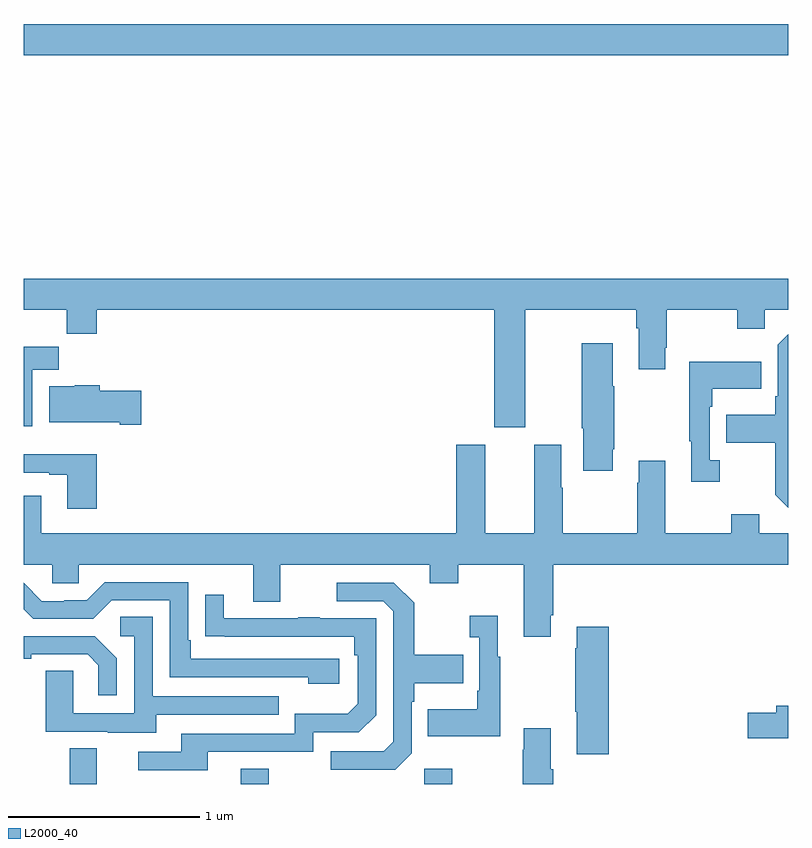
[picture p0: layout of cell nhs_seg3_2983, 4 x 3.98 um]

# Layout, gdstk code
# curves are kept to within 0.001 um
import gdstk
lib = gdstk.Library(unit=1e-6, precision=1e-09)
def R(c, l, rs):  # rectangles x0, y0, x1, y1
    for r in rs: c.add(gdstk.rectangle(r[:2], r[2:], *l))
def P(c, l, *ps):  # polygons
    for p in ps: c.add(gdstk.Polygon(p, *l))
L2000_40 = (2000, 40)

nhs_seg3_2983 = lib.new_cell('nhs_seg3_2983')
R(nhs_seg3_2983, L2000_40, [(265.241,734.4,265.381,734.588), (266.135,734.4,266.283,734.479), (267.096,734.4,267.243,734.479), (265,738.212,269,738.376)])
P(nhs_seg3_2983, L2000_40, [(267.625,736.88),(268.205,736.88),(268.205,736.784),(268.217,736.784),(268.217,736.569),(268.357,736.569),(268.357,736.681),(268.365,736.681),(268.365,736.88),(268.732,736.88),(268.732,736.781),(268.878,736.781),(268.878,736.88),(269,736.88),(269,737.044),(265,737.044),(265,736.88),(265.225,736.88),(265.225,736.756),(265.382,736.756),(265.382,736.88),(267.461,736.88),(267.461,736.266),(267.625,736.266)],
  [(269,736.754),(268.944,736.698),(268.944,736.429),(268.932,736.429),(268.932,736.333),(268.675,736.333),(268.675,736.186),(268.932,736.186),(268.932,735.913),(269,735.844)],
  [(268.081,736.15),(268.089,736.15),(268.089,736.481),(268.081,736.481),(268.081,736.705),(267.919,736.705),(267.919,736.261),(267.926,736.261),(267.926,736.038),(268.081,736.038)],
  [(265.045,736.568),(265.184,736.568),(265.184,736.687),(265,736.687),(265,736.272),(265.045,736.272)],
  [(268.642,736.094),(268.59,736.094),(268.59,736.373),(268.603,736.373),(268.603,736.469),(268.859,736.469),(268.859,736.609),(268.482,736.609),(268.482,736.193),(268.493,736.193),(268.493,735.981),(268.642,735.981)],
  [(265.615,736.458),(265.397,736.458),(265.397,736.486),(265.266,736.486),(265.266,736.48),(265.133,736.48),(265.133,736.292),(265.502,736.292),(265.502,736.28),(265.615,736.28)],
  [(267.757,735.283),(267.77,735.283),(267.77,735.548),(269,735.548),(269,735.712),(268.849,735.712),(268.849,735.811),(268.702,735.811),(268.702,735.712),(268.357,735.712),(268.357,736.09),(268.217,736.09),(268.217,735.977),(268.21,735.977),(268.21,735.712),(267.819,735.712),(267.819,735.95),(267.811,735.95),(267.811,736.174),(267.671,736.174),(267.671,735.712),(267.415,735.712),(267.415,736.174),(267.263,736.174),(267.263,735.712),(265.093,735.712),(265.093,735.907),(265,735.907),(265,735.548),(265.149,735.548),(265.149,735.45),(265.287,735.45),(265.287,735.548),(266.201,735.548),(266.201,735.354),(266.341,735.354),(266.341,735.548),(267.125,735.548),(267.125,735.449),(267.273,735.449),(267.273,735.548),(267.617,735.548),(267.617,735.171),(267.757,735.171)],
  [(265.382,736.126),(265,736.126),(265,736.029),(265.133,736.029),(265.133,736.017),(265.229,736.017),(265.229,735.84),(265.382,735.84)],
  [(266.65,735.054),(265.873,735.054),(265.873,735.151),(265.86,735.151),(265.86,735.456),(265.425,735.456),(265.329,735.36),(265.211,735.36),(265.211,735.357),(265.095,735.357),(265,735.452),(265,735.314),(265.05,735.264),(265.365,735.264),(265.461,735.36),(265.764,735.36),(265.764,734.958),(266.489,734.958),(266.489,734.924),(266.65,734.924)],
  [(267.03,734.562),(267.03,734.831),(267.043,734.831),(267.043,734.927),(267.299,734.927),(267.299,735.075),(267.043,735.075),(267.043,735.347),(266.937,735.453),(266.637,735.453),(266.637,735.357),(266.88,735.357),(266.934,735.303),(266.934,734.622),(266.883,734.571),(266.607,734.571),(266.607,734.475),(266.943,734.475)],
  [(265.963,734.568),(266.514,734.568),(266.514,734.67),(266.754,734.67),(266.844,734.76),(266.844,735.267),(266.549,735.267),(266.549,735.272),(266.437,735.272),(266.437,735.267),(266.047,735.267),(266.047,735.391),(265.951,735.391),(265.951,735.172),(266.728,735.171),(266.728,735.074),(266.748,735.074),(266.748,734.82),(266.695,734.767),(266.418,734.767),(266.418,734.664),(265.823,734.664),(265.823,734.568),(265.599,734.568),(265.599,734.472),(265.963,734.472)],
  [(267.493,735.067),(267.481,735.067),(267.481,735.28),(267.333,735.28),(267.333,735.167),(267.384,735.167),(267.384,734.887),(267.372,734.887),(267.372,734.791),(267.115,734.791),(267.115,734.651),(267.493,734.651)],
  [(265.693,734.763),(266.333,734.763),(266.333,734.859),(265.674,734.859),(265.674,735.275),(265.506,735.275),(265.506,735.174),(265.578,735.174),(265.578,734.769),(265.26,734.769),(265.26,734.993),(265.115,734.993),(265.115,734.673),(265.439,734.673),(265.439,734.669),(265.693,734.669)],
  [(268.061,735.223),(267.893,735.223),(267.893,735.11),(267.886,735.11),(267.886,734.779),(267.893,734.779),(267.893,734.556),(268.061,734.556)],
  [(265.488,735.058),(265.372,735.174),(265,735.174),(265,735.056),(265.039,735.056),(265.039,735.078),(265.334,735.078),(265.391,735.021),(265.391,734.865),(265.488,734.865)],
  [(269,734.81),(268.937,734.81),(268.937,734.774),(268.788,734.774),(268.788,734.639),(269,734.639)],
  [(267.77,734.476),(267.757,734.476),(267.757,734.692),(267.617,734.692),(267.617,734.579),(267.61,734.579),(267.61,734.4),(267.77,734.4)])

lib.write_gds('nhs_seg3_2983.gds')
